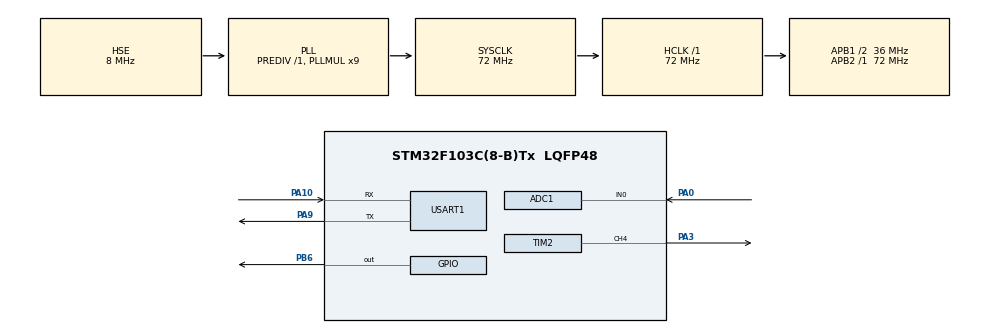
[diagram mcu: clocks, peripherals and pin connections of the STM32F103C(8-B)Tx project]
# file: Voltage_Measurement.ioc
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ADC1.Channel-0\#ChannelRegularConversion=ADC_CHANNEL_0
ADC1.ContinuousConvMode=DISABLE
ADC1.ExternalTrigConv=ADC_EXTERNALTRIGCONV_T3_TRGO
ADC1.NbrOfConversionFlag=1
ADC1.Rank-0\#ChannelRegularConversion=1
ADC1.SamplingTime-0\#ChannelRegularConversion=ADC_SAMPLETIME_239CYCLES_5
ADC1.master=1
Dma.ADC1.0.Direction=DMA_PERIPH_TO_MEMORY
Dma.ADC1.0.Instance=DMA1_Channel1
Dma.ADC1.0.MemDataAlignment=DMA_MDATAALIGN_HALFWORD
Dma.ADC1.0.MemInc=DMA_MINC_ENABLE
Dma.ADC1.0.Mode=DMA_CIRCULAR
Dma.ADC1.0.PeriphDataAlignment=DMA_PDATAALIGN_HALFWORD
Dma.ADC1.0.PeriphInc=DMA_PINC_DISABLE
Dma.ADC1.0.Priority=DMA_PRIORITY_LOW
Dma.Request0=ADC1
Mcu.Family=STM32F1
Mcu.Name=STM32F103C(8-B)Tx
Mcu.Package=LQFP48
NVIC.DMA1_Channel1_IRQn=true\:0\:0\:false\:false\:true\:false\:true\:true
NVIC.PriorityGroup=NVIC_PRIORITYGROUP_4
PA0-WKUP.Signal=ADCx_IN0
PA10.Mode=Asynchronous
PA10.Signal=USART1_RX
PA13.Mode=Serial_Wire
PA13.Signal=SYS_JTMS-SWDIO
PA14.Mode=Serial_Wire
PA14.Signal=SYS_JTCK-SWCLK
PA3.Signal=S_TIM2_CH4
PA9.Mode=Asynchronous
PA9.Signal=USART1_TX
PB6.Signal=GPIO_Output
PD0-OSC_IN.Mode=HSE-External-Oscillator
PD0-OSC_IN.Signal=RCC_OSC_IN
PD1-OSC_OUT.Mode=HSE-External-Oscillator
PD1-OSC_OUT.Signal=RCC_OSC_OUT
ProjectManager.HeapSize=0x200
ProjectManager.StackSize=0x400
ProjectManager.TargetToolchain=STM32CubeIDE
RCC.ADCPresc=RCC_ADCPCLK2_DIV6
RCC.AHBFreq_Value=72000000
RCC.APB1CLKDivider=RCC_HCLK_DIV2
RCC.APB1Freq_Value=36000000
RCC.APB1TimFreq_Value=72000000
RCC.APB2Freq_Value=72000000
RCC.APB2TimFreq_Value=72000000
RCC.HCLKFreq_Value=72000000
RCC.PLLMUL=RCC_PLL_MUL9
RCC.PLLSourceVirtual=RCC_PLLSOURCE_HSE
RCC.SYSCLKFreq_VALUE=72000000
RCC.SYSCLKSource=RCC_SYSCLKSOURCE_PLLCLK
RCC.USBFreq_Value=72000000
SH.ADCx_IN0.0=ADC1_IN0,IN0
SH.S_TIM2_CH4.0=TIM2_CH4,PWM Generation4 CH4
TIM2.Channel-PWM\ Generation4\ CH4=TIM_CHANNEL_4
TIM2.Period=999
TIM2.Prescaler=71
TIM3.Period=99
TIM3.Prescaler=7199
TIM3.TIM_MasterOutputTrigger=TIM_TRGO_UPDATE
USART1.VirtualMode=VM_ASYNC
VP_TIM2_VS_ClockSourceINT.Mode=Internal
VP_TIM3_VS_ClockSourceINT.Mode=Internal
board=custom

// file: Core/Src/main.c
/* USER CODE BEGIN Header */
/**
  ******************************************************************************
  * @file           : main.c
  * @brief          : Main program body
  ******************************************************************************
  * @attention
  *
  * Copyright (c) 2026 STMicroelectronics.
  * All rights reserved.
  *
  * This software is licensed under terms that can be found in the LICENSE file
  * in the root directory of this software component.
  * If no LICENSE file comes with this software, it is provided AS-IS.
  *
  ******************************************************************************
  */
/* USER CODE END Header */
#include "main.h"

/* USER CODE BEGIN Includes */
#include <stdio.h>
#include <string.h>
/* USER CODE END Includes */

ADC_HandleTypeDef hadc1;
DMA_HandleTypeDef hdma_adc1;

TIM_HandleTypeDef htim2;
TIM_HandleTypeDef htim3;

UART_HandleTypeDef huart1;

/* USER CODE BEGIN PV */
#define ADC_BUFFER_SIZE 64

uint16_t adc_buffer[ADC_BUFFER_SIZE];

volatile uint8_t adc_half_ready = 0;
volatile uint8_t adc_full_ready = 0;
/* USER CODE END PV */

void SystemClock_Config(void);
static void MX_GPIO_Init(void);
static void MX_DMA_Init(void);
static void MX_ADC1_Init(void);
static void MX_USART1_UART_Init(void);
static void MX_TIM3_Init(void);
static void MX_TIM2_Init(void);
/* USER CODE BEGIN PFP */
uint32_t compute_average(uint16_t *buffer, uint16_t size);
/* USER CODE END PFP */

int main(void)
{

  /* MCU Configuration--------------------------------------------------------*/

  /* Reset of all peripherals, Initializes the Flash interface and the Systick. */
  HAL_Init();

  /* Configure the system clock */
  SystemClock_Config();

  /* Initialize all configured peripherals */
  MX_GPIO_Init();
  MX_DMA_Init();
  MX_ADC1_Init();
  MX_USART1_UART_Init();
  MX_TIM3_Init();
  MX_TIM2_Init();
  /* USER CODE BEGIN 2 */
  HAL_TIM_Base_Start(&htim3);
  HAL_ADC_Start_DMA(&hadc1, (uint32_t*)adc_buffer, ADC_BUFFER_SIZE);
  HAL_TIM_PWM_Start(&htim2, TIM_CHANNEL_4);
  /* USER CODE END 2 */

  /* Infinite loop */
  /* USER CODE BEGIN WHILE */
  uint32_t avg = 0;
  uint32_t duty = 0;
  float voltage = 0;
  char msg[64];

  while (1)
  {
	  if (adc_half_ready){
		  adc_half_ready = 0;

		  avg = compute_average(&adc_buffer[0], ADC_BUFFER_SIZE / 2);

		  voltage = (float)avg * 3.3f / 4095.0f;

		  snprintf(msg, sizeof(msg), "AVG: %lu | V: %.2f\r\n", avg, voltage);

		  HAL_UART_Transmit(&huart1, (uint8_t*)msg, strlen(msg), HAL_MAX_DELAY);

	  }

	  if (adc_full_ready){
		  adc_full_ready = 0;
		  avg = compute_average(&adc_buffer[ADC_BUFFER_SIZE / 2], ADC_BUFFER_SIZE / 2);
		  voltage = (float)avg * 3.3f / 4095.0f;

		  snprintf(msg, sizeof(msg), "AVG: %lu | V: %.2f\r\n", avg, voltage);
		  HAL_UART_Transmit(&huart1, (uint8_t*)msg, strlen(msg), HAL_MAX_DELAY);

	  }

	  // Mapping ADC → PWM
	  duty = (avg * 999) / 4095;
	  __HAL_TIM_SET_COMPARE(&htim2, TIM_CHANNEL_4, duty);

    /* USER CODE END WHILE */

  }
}

void SystemClock_Config(void)
{
  RCC_OscInitTypeDef RCC_OscInitStruct = {0};
  RCC_ClkInitTypeDef RCC_ClkInitStruct = {0};
  RCC_PeriphCLKInitTypeDef PeriphClkInit = {0};

  /** Initializes the RCC Oscillators according to the specified parameters
  * in the RCC_OscInitTypeDef structure.
  */
  RCC_OscInitStruct.OscillatorType = RCC_OSCILLATORTYPE_HSE;
  RCC_OscInitStruct.HSEState = RCC_HSE_ON;
  RCC_OscInitStruct.HSEPredivValue = RCC_HSE_PREDIV_DIV1;
  RCC_OscInitStruct.HSIState = RCC_HSI_ON;
  RCC_OscInitStruct.PLL.PLLState = RCC_PLL_ON;
  RCC_OscInitStruct.PLL.PLLSource = RCC_PLLSOURCE_HSE;
  RCC_OscInitStruct.PLL.PLLMUL = RCC_PLL_MUL9;
  if (HAL_RCC_OscConfig(&RCC_OscInitStruct) != HAL_OK)
  {
    Error_Handler();
  }

  /** Initializes the CPU, AHB and APB buses clocks
  */
  RCC_ClkInitStruct.ClockType = RCC_CLOCKTYPE_HCLK|RCC_CLOCKTYPE_SYSCLK
                              |RCC_CLOCKTYPE_PCLK1|RCC_CLOCKTYPE_PCLK2;
  RCC_ClkInitStruct.SYSCLKSource = RCC_SYSCLKSOURCE_PLLCLK;
  RCC_ClkInitStruct.AHBCLKDivider = RCC_SYSCLK_DIV1;
  RCC_ClkInitStruct.APB1CLKDivider = RCC_HCLK_DIV2;
  RCC_ClkInitStruct.APB2CLKDivider = RCC_HCLK_DIV1;

  if (HAL_RCC_ClockConfig(&RCC_ClkInitStruct, FLASH_LATENCY_2) != HAL_OK)
  {
    Error_Handler();
  }
  PeriphClkInit.PeriphClockSelection = RCC_PERIPHCLK_ADC;
  PeriphClkInit.AdcClockSelection = RCC_ADCPCLK2_DIV6;
  if (HAL_RCCEx_PeriphCLKConfig(&PeriphClkInit) != HAL_OK)
  {
    Error_Handler();
  }
}

static void MX_ADC1_Init(void)
{

  ADC_ChannelConfTypeDef sConfig = {0};

  /** Common config
  */
  hadc1.Instance = ADC1;
  hadc1.Init.ScanConvMode = ADC_SCAN_DISABLE;
  hadc1.Init.ContinuousConvMode = DISABLE;
  hadc1.Init.DiscontinuousConvMode = DISABLE;
  hadc1.Init.ExternalTrigConv = ADC_EXTERNALTRIGCONV_T3_TRGO;
  hadc1.Init.DataAlign = ADC_DATAALIGN_RIGHT;
  hadc1.Init.NbrOfConversion = 1;
  if (HAL_ADC_Init(&hadc1) != HAL_OK)
  {
    Error_Handler();
  }

  /** Configure Regular Channel
  */
  sConfig.Channel = ADC_CHANNEL_0;
  sConfig.Rank = ADC_REGULAR_RANK_1;
  sConfig.SamplingTime = ADC_SAMPLETIME_239CYCLES_5;
  if (HAL_ADC_ConfigChannel(&hadc1, &sConfig) != HAL_OK)
  {
    Error_Handler();
  }

}

static void MX_TIM2_Init(void)
{

  TIM_ClockConfigTypeDef sClockSourceConfig = {0};
  TIM_MasterConfigTypeDef sMasterConfig = {0};
  TIM_OC_InitTypeDef sConfigOC = {0};

  htim2.Instance = TIM2;
  htim2.Init.Prescaler = 71;
  htim2.Init.CounterMode = TIM_COUNTERMODE_UP;
  htim2.Init.Period = 999;
  htim2.Init.ClockDivision = TIM_CLOCKDIVISION_DIV1;
  htim2.Init.AutoReloadPreload = TIM_AUTORELOAD_PRELOAD_DISABLE;
  if (HAL_TIM_Base_Init(&htim2) != HAL_OK)
  {
    Error_Handler();
  }
  sClockSourceConfig.ClockSource = TIM_CLOCKSOURCE_INTERNAL;
  if (HAL_TIM_ConfigClockSource(&htim2, &sClockSourceConfig) != HAL_OK)
  {
    Error_Handler();
  }
  if (HAL_TIM_PWM_Init(&htim2) != HAL_OK)
  {
    Error_Handler();
  }
  sMasterConfig.MasterOutputTrigger = TIM_TRGO_RESET;
  sMasterConfig.MasterSlaveMode = TIM_MASTERSLAVEMODE_DISABLE;
  if (HAL_TIMEx_MasterConfigSynchronization(&htim2, &sMasterConfig) != HAL_OK)
  {
    Error_Handler();
  }
  sConfigOC.OCMode = TIM_OCMODE_PWM1;
  sConfigOC.Pulse = 0;
  sConfigOC.OCPolarity = TIM_OCPOLARITY_HIGH;
  sConfigOC.OCFastMode = TIM_OCFAST_DISABLE;
  if (HAL_TIM_PWM_ConfigChannel(&htim2, &sConfigOC, TIM_CHANNEL_4) != HAL_OK)
  {
    Error_Handler();
  }
  HAL_TIM_MspPostInit(&htim2);

}

static void MX_TIM3_Init(void)
{

  TIM_ClockConfigTypeDef sClockSourceConfig = {0};
  TIM_MasterConfigTypeDef sMasterConfig = {0};

  htim3.Instance = TIM3;
  htim3.Init.Prescaler = 7199;
  htim3.Init.CounterMode = TIM_COUNTERMODE_UP;
  htim3.Init.Period = 99;
  htim3.Init.ClockDivision = TIM_CLOCKDIVISION_DIV1;
  htim3.Init.AutoReloadPreload = TIM_AUTORELOAD_PRELOAD_DISABLE;
  if (HAL_TIM_Base_Init(&htim3) != HAL_OK)
  {
    Error_Handler();
  }
  sClockSourceConfig.ClockSource = TIM_CLOCKSOURCE_INTERNAL;
  if (HAL_TIM_ConfigClockSource(&htim3, &sClockSourceConfig) != HAL_OK)
  {
    Error_Handler();
  }
  sMasterConfig.MasterOutputTrigger = TIM_TRGO_UPDATE;
  sMasterConfig.MasterSlaveMode = TIM_MASTERSLAVEMODE_DISABLE;
  if (HAL_TIMEx_MasterConfigSynchronization(&htim3, &sMasterConfig) != HAL_OK)
  {
    Error_Handler();
  }

}

static void MX_USART1_UART_Init(void)
{

  huart1.Instance = USART1;
  huart1.Init.BaudRate = 115200;
  huart1.Init.WordLength = UART_WORDLENGTH_8B;
  huart1.Init.StopBits = UART_STOPBITS_1;
  huart1.Init.Parity = UART_PARITY_NONE;
  huart1.Init.Mode = UART_MODE_TX_RX;
  huart1.Init.HwFlowCtl = UART_HWCONTROL_NONE;
  huart1.Init.OverSampling = UART_OVERSAMPLING_16;
  if (HAL_UART_Init(&huart1) != HAL_OK)
  {
    Error_Handler();
  }

}

static void MX_DMA_Init(void)
{

  /* DMA controller clock enable */
  __HAL_RCC_DMA1_CLK_ENABLE();

  /* DMA interrupt init */
  /* DMA1_Channel1_IRQn interrupt configuration */
  HAL_NVIC_SetPriority(DMA1_Channel1_IRQn, 0, 0);
  HAL_NVIC_EnableIRQ(DMA1_Channel1_IRQn);

}

static void MX_GPIO_Init(void)
{
  GPIO_InitTypeDef GPIO_InitStruct = {0};

  /* GPIO Ports Clock Enable */
  __HAL_RCC_GPIOD_CLK_ENABLE();
  __HAL_RCC_GPIOA_CLK_ENABLE();
  __HAL_RCC_GPIOB_CLK_ENABLE();

  /*Configure GPIO pin Output Level */
  HAL_GPIO_WritePin(GPIOB, GPIO_PIN_6, GPIO_PIN_RESET);

  /*Configure GPIO pin : PB6 */
  GPIO_InitStruct.Pin = GPIO_PIN_6;
  GPIO_InitStruct.Mode = GPIO_MODE_OUTPUT_PP;
  GPIO_InitStruct.Pull = GPIO_NOPULL;
  GPIO_InitStruct.Speed = GPIO_SPEED_FREQ_LOW;
  HAL_GPIO_Init(GPIOB, &GPIO_InitStruct);

}

/* USER CODE BEGIN 4 */
void HAL_ADC_ConvHalfCpltCallback(ADC_HandleTypeDef* hadc)
{
    adc_half_ready = 1;
}

void HAL_ADC_ConvCpltCallback(ADC_HandleTypeDef* hadc)
{
    adc_full_ready = 1;
}

uint32_t compute_average(uint16_t *buffer, uint16_t size)
{
    uint32_t sum = 0;

    for (uint16_t i = 0; i < size; i++)
    {
        sum += buffer[i];
    }

    return sum / size;
}
/* USER CODE END 4 */

void Error_Handler(void)
{
  __disable_irq();
  while (1)
  {
  }
}
